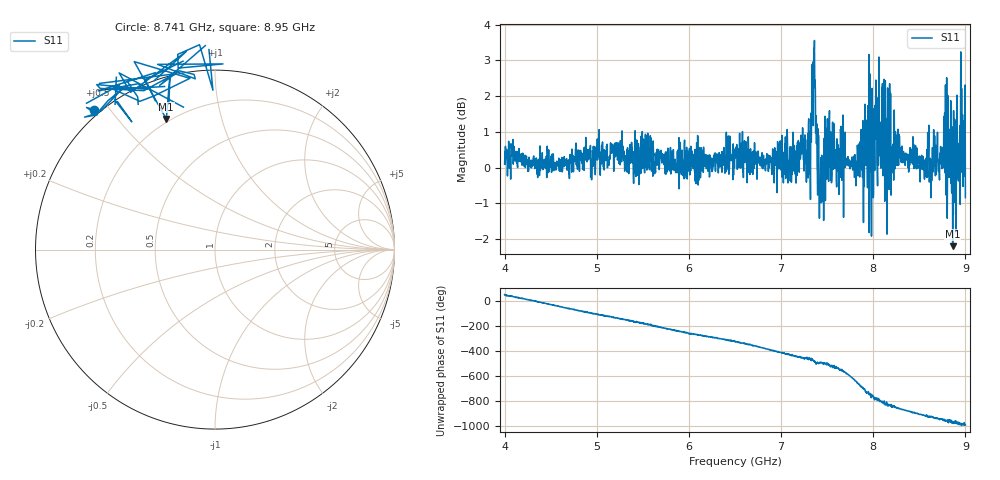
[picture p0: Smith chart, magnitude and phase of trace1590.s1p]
! Created with skrf 1.8.0 (http://scikit-rf.org).
# Hz S RI R 50.0
!freq ReS11 ImS11
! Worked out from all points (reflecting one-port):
!   1601 points, 4 GHz to 9 GHz, reference 50 ohm
!   lowest |S11| = -2.2 dB at 8.862 GHz (marker M1), VSWR 7.95, Z = 9.25 + j33.9 ohm
!   phase of S11 starts at 54 deg and turns -1050 deg over the sweep
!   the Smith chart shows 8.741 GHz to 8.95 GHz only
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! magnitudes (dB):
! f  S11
! 4 GHz  0.1
! 4.625 GHz  -0.1
! 5.25 GHz  0.1
! 5.875 GHz  0.5
! 6.5 GHz  0.3
! 7.125 GHz  0.3
! 7.294 GHz  -0.3
! 7.356 GHz  3.3
! 7.381 GHz  1.1
! 7.4 GHz  1.1
! 7.438 GHz  -0.4
! 7.503 GHz  1.4
! 7.616 GHz  -0.1
! 7.669 GHz  0.4
! 7.75 GHz  0.1
! 7.878 GHz  1.0
! 7.928 GHz  1.3
! 7.981 GHz  -1.9
! 8.009 GHz  1.7
! 8.066 GHz  0.6
! 8.097 GHz  1.3
! 8.216 GHz  0.7
! 8.375 GHz  0.4
! 8.731 GHz  0.6
! 8.791 GHz  -0.4
! 8.862 GHz  -2.2
! 8.972 GHz  0.3
! 9 GHz  -0.8
